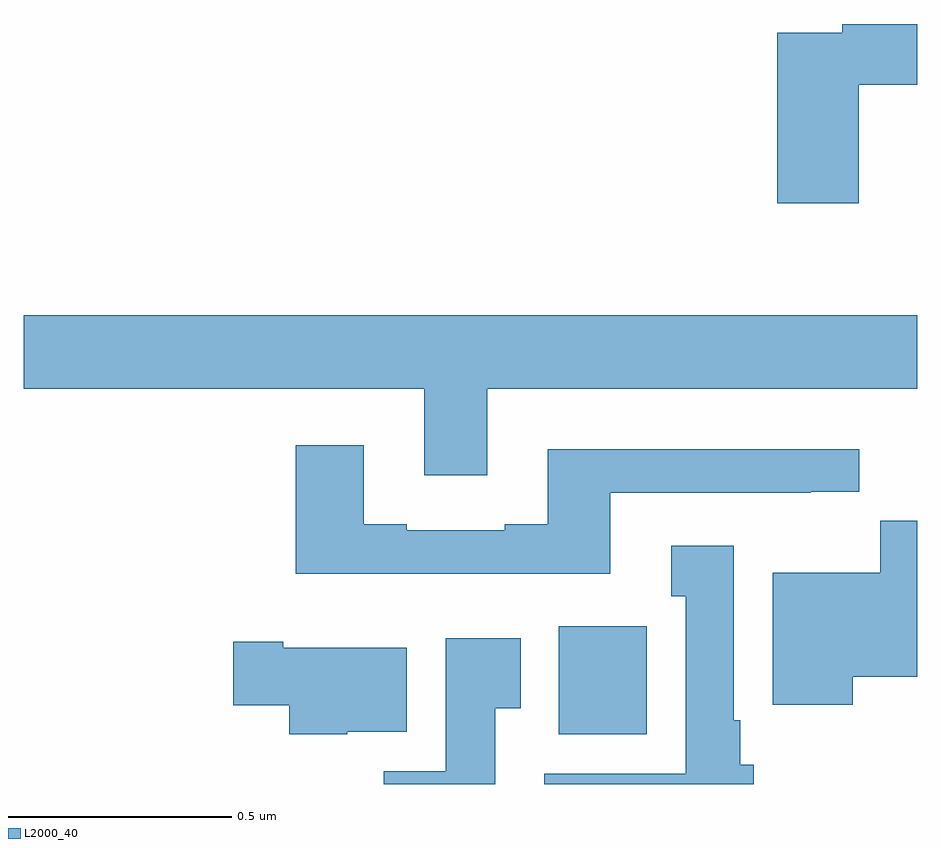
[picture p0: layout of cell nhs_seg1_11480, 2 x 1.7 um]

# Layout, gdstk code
import gdstk
lib = gdstk.Library(unit=1e-6, precision=1e-09)
def R(c, l, rs):  # rectangles x0, y0, x1, y1
    for r in rs: c.add(gdstk.rectangle(r[:2], r[2:], *l))
def P(c, l, *ps):  # polygons
    for p in ps: c.add(gdstk.Polygon(p, *l))
L2000_40 = (2000, 40)

nhs_seg1_11480 = lib.new_cell('nhs_seg1_11480')
R(nhs_seg1_11480, L2000_40, [(255.197,532.31,255.394,532.552)])
P(nhs_seg1_11480, L2000_40, [(255.869,533.764),(256,533.764),(256,533.9),(255.832,533.9),(255.832,533.88),(255.686,533.88),(255.686,533.499),(255.869,533.499)],
  [(255.037,533.084),(256,533.084),(256,533.248),(254,533.248),(254,533.084),(254.897,533.084),(254.897,532.89),(255.037,532.89)],
  [(255.313,532.851),(255.761,532.851),(255.761,532.853),(255.87,532.853),(255.87,532.948),(255.173,532.948),(255.173,532.78),(255.077,532.78),(255.077,532.767),(254.857,532.767),(254.857,532.78),(254.761,532.78),(254.761,532.957),(254.609,532.957),(254.609,532.67),(255.313,532.67)],
  [(255.856,532.439),(256,532.439),(256,532.788),(255.917,532.788),(255.917,532.672),(255.677,532.672),(255.677,532.376),(255.856,532.376)],
  [(255.634,532.242),(255.604,532.242),(255.604,532.342),(255.589,532.342),(255.589,532.732),(255.449,532.732),(255.449,532.619),(255.482,532.619),(255.482,532.222),(255.165,532.222),(255.165,532.199),(255.634,532.199)],
  [(255.055,532.369),(255.112,532.369),(255.112,532.525),(254.945,532.525),(254.945,532.228),(254.806,532.228),(254.806,532.199),(255.055,532.199)],
  [(254.724,532.316),(254.857,532.316),(254.857,532.504),(254.581,532.504),(254.581,532.517),(254.469,532.517),(254.469,532.375),(254.594,532.375),(254.594,532.31),(254.724,532.31)])

lib.write_gds('nhs_seg1_11480.gds')
